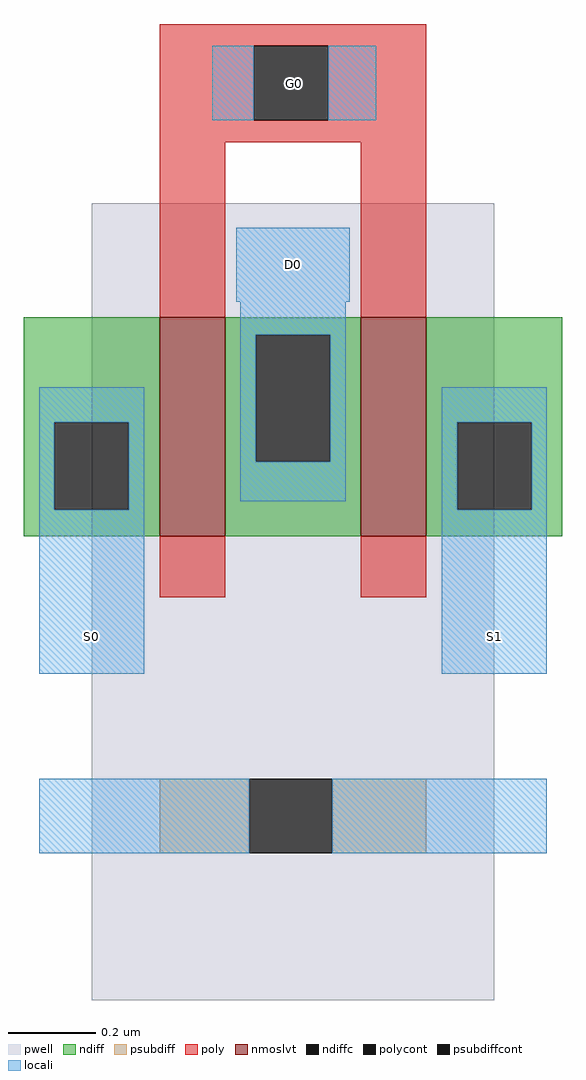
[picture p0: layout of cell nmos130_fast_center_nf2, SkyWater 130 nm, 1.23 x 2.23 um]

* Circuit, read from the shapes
.subckt nmos130_fast_center_nf2 D0 G0 S0 S1
XM1 D0 G0 S0 VSUBS sky130_fd_pr__nfet_01v8_lvt w=0.5 l=0.15
XM2 S1 G0 D0 VSUBS sky130_fd_pr__nfet_01v8_lvt w=0.5 l=0.15
.ends

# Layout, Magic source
magic
tech sky130A
magscale 1 2
<< pwell >>
rect 0 -84 184 280
<< nmoslvt >>
rect 31 128 61 228
rect 123 128 153 228
<< ndiff >>
rect -31 180 31 228
rect -31 140 -17 180
rect 17 140 31 180
rect -31 128 31 140
rect 61 220 123 228
rect 61 162 75 220
rect 109 162 123 220
rect 61 128 123 162
rect 153 180 215 228
rect 153 140 167 180
rect 201 140 215 180
rect 153 128 215 140
<< ndiffc >>
rect -17 140 17 180
rect 75 162 109 220
rect 167 140 201 180
<< psubdiff >>
rect 31 -17 72 17
rect 110 -17 153 17
<< psubdiffcont >>
rect 72 -17 110 17
<< poly >>
rect 31 352 153 362
rect 31 318 74 352
rect 108 318 153 352
rect 31 308 153 318
rect 31 228 61 308
rect 123 228 153 308
rect 31 100 61 128
rect 123 100 153 128
<< polycont >>
rect 74 318 108 352
<< locali >>
rect 55 318 74 352
rect 108 318 130 352
rect 66 235 118 269
rect 68 220 116 235
rect -24 180 24 196
rect -24 140 -17 180
rect 17 140 24 180
rect 68 162 75 220
rect 109 162 116 220
rect 68 144 116 162
rect 160 180 208 196
rect -24 65 24 140
rect 160 140 167 180
rect 201 140 208 180
rect 160 65 208 140
rect -24 -17 72 17
rect 110 -17 208 17
<< labels >>
flabel locali 55 318 130 352 0 FreeSans 136 0 0 0 G0
flabel locali 66 235 118 269 0 FreeSans 136 0 0 0 D0
flabel locali -24 65 24 99 0 FreeSans 136 0 0 0 S0
flabel locali 160 65 208 99 0 FreeSans 136 0 0 0 S1
<< end >>
